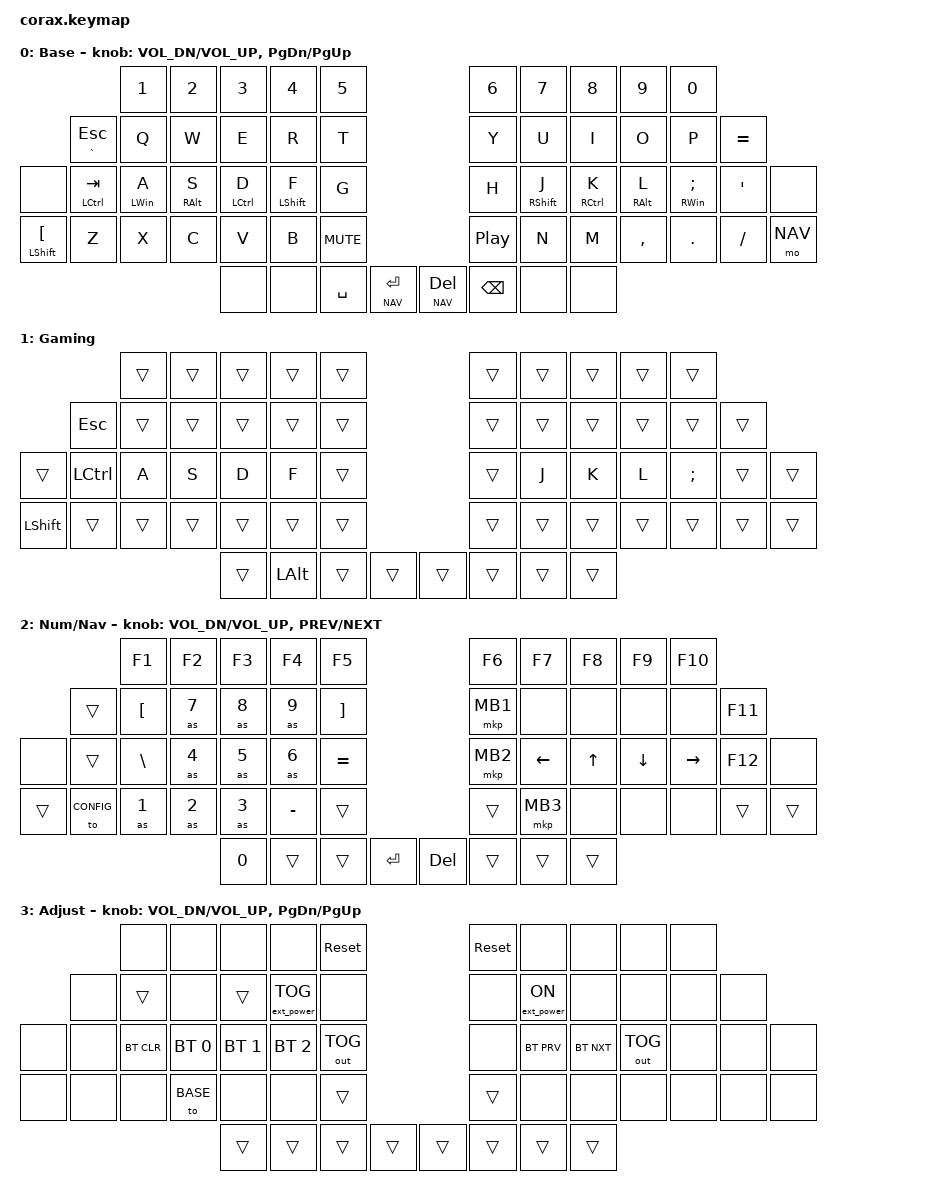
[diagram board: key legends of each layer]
#include <behaviors.dtsi>
#include <dt-bindings/zmk/bt.h>
#include <dt-bindings/zmk/ext_power.h>
#include <dt-bindings/zmk/keys.h>
#include <dt-bindings/zmk/mouse.h>
#include <dt-bindings/zmk/outputs.h>

#define BASE 0
#define GAMING 1
#define NAV 2
#define CONFIG 3

// additional caps word keys

&caps_word { continue-list = <UNDERSCORE MINUS LS(MINUS) UP DOWN LEFT RIGHT BSPC DEL>; };

&mt { tapping-term-ms = <175>; };

/ {
    behaviors {
        hm: homerow_mods {
            compatible = "zmk,behavior-hold-tap";
            label = "HOMEROW_MODS";
            #binding-cells = <2>;
            tapping-term-ms = <175>;
            quick_tap_ms = <0>;
            require-prior-idle-ms = <100>;
            flavor = "tap-preferred";
            bindings = <&kp>, <&kp>;
        };

        as_ht: autoshift_hold_tap {
            compatible = "zmk,behavior-hold-tap";
            label = "AUTOSHIFT_HOLD_TAP";
            #binding-cells = <2>;
            tapping-term-ms = <150>;
            bindings = <&shifted>, <&kp>;
        };
    };

    macros {
        shifted: macro_shifted_kp {
          #binding-cells = <1>;
          label = "MACRO_SHIFTED_KP";
          compatible = "zmk,behavior-macro-one-param";
          bindings =
            <&macro_press &kp LSHFT>,
            <&macro_param_1to1 &macro_tap &kp MACRO_PLACEHOLDER>,
            <&macro_release &kp LSHFT>;
        };
    
        as: autoshift {
          compatible = "zmk,behavior-macro-one-param";
          #binding-cells = <1>;
          label = "AUTOSHIFT_KP";
          bindings =
            <&macro_press>,
            <&macro_param_1to1>,
            <&macro_param_1to2>,
            <&as_ht MACRO_PLACEHOLDER MACRO_PLACEHOLDER>,
            <&macro_pause_for_release>,
            <&macro_release>,
            <&macro_param_1to1>,
            <&macro_param_1to2>,
            <&as_ht MACRO_PLACEHOLDER MACRO_PLACEHOLDER>;
        };
      };

    combos {
        compatible = "zmk,combos";

        gm_capsword {
            bindings = <&caps_word>;

            // caps word on F+J

            key-positions = <27 30>;
            layers = <0>;
        };

        base_to_gaming {
            bindings = <&to GAMING>;
            key-positions = <53 54>;
            layers = <BASE>;
        };

        gaming_to_base {
            bindings = <&to BASE>;
            key-positions = <53 54>;
            layers = <GAMING>;
        };

        gaming_tab {
            bindings = <&kp TAB>;
            key-positions = <23 36>;
            layers = <GAMING>;
        };

        copy_shortcut {
            bindings = <&kp LC(C)>;
            key-positions = <38 39>;
            layers = <BASE GAMING>;
        };

        paste_shortcut {
            bindings = <&kp LC(V)>;
            key-positions = <39 40>;
            layers = <BASE GAMING>;
        };
    };

    keymap {
        compatible = "zmk,keymap";

        base {
            display-name = "Base";
            bindings = <
            //╭─────────────┬─────────────┬─────────────┬─────────────┬─────────────┬─────────────┬─────────────┬─────────────╮ ╭─────────────┬─────────────┬─────────────┬─────────────┬─────────────┬─────────────┬─────────────┬─────────────╮
                                             &kp N1         &kp N2       &kp N3         &kp N4       &kp N5                                      &kp N6        &kp N7        &kp N8        &kp N9        &kp N0
            //├─────────────┼─────────────┼─────────────┼─────────────┼─────────────┼─────────────┼─────────────┼─────────────┤ ├─────────────┼─────────────┼─────────────┼─────────────┼─────────────┼─────────────┼─────────────┼─────────────┤
                             &mt GRAVE ESC   &kp Q          &kp W        &kp E          &kp R        &kp T                                       &kp Y         &kp U         &kp I         &kp O         &kp P         &kp EQUAL
            //├─────────────┼─────────────┼─────────────┼─────────────┼─────────────┼─────────────┼─────────────┼─────────────┤ ├─────────────┼─────────────┼─────────────┼─────────────┼─────────────┼─────────────┼─────────────┼─────────────┤
                   &none     &mt LCTRL TAB   &hm LWIN A     &hm RALT S   &hm LCTRL D    &hm LSHFT F  &kp G                                       &kp H         &hm RSHFT J   &hm RCTRL K   &hm RALT L    &hm RWIN SEMI &kp SQT        &none
            //├─────────────┼─────────────┼─────────────┼─────────────┼─────────────┼─────────────┼─────────────┼─────────────┤ ├─────────────┼─────────────┼─────────────┼─────────────┼─────────────┼─────────────┼─────────────┼─────────────┤
                             &mt LSHFT LBKT  &kp Z          &kp X        &kp C          &kp V        &kp B         &kp C_MUTE      &kp C_PP      &kp N         &kp M         &kp COMMA     &kp DOT       &kp SLASH     &mo NAV
            //╰───────────────────────────────────────────────────────┼─────────────┼─────────────┼─────────────┼─────────────┤ ├─────────────┼─────────────┼─────────────┼─────────────┼───────────────────────────────────────────────────────╯
                                                                         &none          &none        &kp SPACE     &lt NAV RET     &lt NAV DEL   &kp BSPC      &none         &none
            //                                                        ╰─────────────┴─────────────┴─────────────┴─────────────╯ ╰─────────────┴─────────────┴─────────────┴─────────────╯
            >;

            sensor-bindings = <&inc_dec_kp C_VOL_DN C_VOL_UP &inc_dec_kp PG_DN PG_UP>;
        };

        gaming {
            bindings = <
            //╭─────────────┬─────────────┬─────────────┬─────────────┬─────────────┬─────────────┬─────────────┬─────────────╮ ╭─────────────┬─────────────┬─────────────┬─────────────┬─────────────┬─────────────┬─────────────┬─────────────╮
                                            &trans        &trans        &trans        &trans         &trans                                      &trans        &trans        &trans         &trans        &trans
            //├─────────────┼─────────────┼─────────────┼─────────────┼─────────────┼─────────────┼─────────────┼─────────────┤ ├─────────────┼─────────────┼─────────────┼─────────────┼─────────────┼─────────────┼─────────────┼─────────────┤
                              &kp ESCAPE    &trans        &trans        &trans        &trans         &trans                                      &trans        &trans        &trans         &trans        &trans       &trans
            //├─────────────┼─────────────┼─────────────┼─────────────┼─────────────┼─────────────┼─────────────┼─────────────┤ ├─────────────┼─────────────┼─────────────┼─────────────┼─────────────┼─────────────┼─────────────┼─────────────┤
                 &trans       &kp LCTRL     &kp A         &kp S         &kp D         &kp F          &trans                                      &trans        &kp J         &kp K          &kp L         &kp SEMI     &trans        &trans
            //├─────────────┼─────────────┼─────────────┼─────────────┼─────────────┼─────────────┼─────────────┼─────────────┤ ├─────────────┼─────────────┼─────────────┼─────────────┼─────────────┼─────────────┼─────────────┼─────────────┤
                              &kp LSHFT     &trans        &trans        &trans        &trans         &trans        &trans          &trans        &trans        &trans        &trans         &trans        &trans       &trans
            //╰───────────────────────────────────────────────────────┼─────────────┼─────────────┼─────────────┼─────────────┤ ├─────────────┼─────────────┼─────────────┼─────────────┼───────────────────────────────────────────────────────╯
                                                                        &trans        &kp LALT       &trans        &trans          &trans        &trans        &trans        &trans
            //                                                        ╰─────────────┴─────────────┴─────────────┴─────────────╯ ╰─────────────┴─────────────┴─────────────┴─────────────╯
            >;

            label = "Gaming";
        };

        nav {
            display-name = "Num/Nav";
            bindings = <
            //╭─────────────┬─────────────┬─────────────┬─────────────┬─────────────┬─────────────┬─────────────┬─────────────╮ ╭─────────────┬─────────────┬─────────────┬─────────────┬─────────────┬─────────────┬─────────────┬─────────────╮
                                             &kp F1       &kp F2        &kp F3        &kp F4        &kp F5                                       &kp F6        &kp F7        &kp F8       &kp F9         &kp F10
            //├─────────────┼─────────────┼─────────────┼─────────────┼─────────────┼─────────────┼─────────────┼─────────────┤ ├─────────────┼─────────────┼─────────────┼─────────────┼─────────────┼─────────────┼─────────────┼─────────────┤
                               &trans       &kp LBKT      &as N7        &as N8        &as N9        &kp RBKT                                     &mkp MB1      &none          &none       &none          &none         &kp F11
            //├─────────────┼─────────────┼─────────────┼─────────────┼─────────────┼─────────────┼─────────────┼─────────────┤ ├─────────────┼─────────────┼─────────────┼─────────────┼─────────────┼─────────────┼─────────────┼─────────────┤
                 &none         &trans       &kp BSLH      &as N4        &as N5        &as N6        &kp EQUAL                                    &mkp MB2      &kp LEFT       &kp UP      &kp DOWN       &kp RIGHT     &kp F12       &none
            //├─────────────┼─────────────┼─────────────┼─────────────┼─────────────┼─────────────┼─────────────┼─────────────┤ ├─────────────┼─────────────┼─────────────┼─────────────┼─────────────┼─────────────┼─────────────┼─────────────┤
                               &trans       &to CONFIG    &as N1        &as N2        &as N3        &kp MINUS      &trans          &trans        &mkp MB3      &none          &none       &none          &trans        &trans
            //╰───────────────────────────────────────────────────────┼─────────────┼─────────────┼─────────────┼─────────────┤ ├─────────────┼─────────────┼─────────────┼─────────────┼───────────────────────────────────────────────────────╯
                                                                        &kp N0        &trans        &trans         &kp ENTER       &kp DELETE    &trans        &trans         &trans
            //                                                        ╰─────────────┴─────────────┴─────────────┴─────────────╯ ╰─────────────┴─────────────┴─────────────┴─────────────╯
            >;

            sensor-bindings = <&inc_dec_kp C_VOL_DN C_VOL_UP &inc_dec_kp C_PREV C_NEXT>;
        };

        config {
            display-name = "Adjust";
            bindings = <
            //╭─────────────┬─────────────┬─────────────┬─────────────┬─────────────┬─────────────┬─────────────┬─────────────╮ ╭─────────────┬─────────────┬─────────────┬─────────────┬─────────────┬─────────────┬─────────────┬─────────────╮
                                             &none         &none         &none         &none         &sys_reset                                  &sys_reset    &none         &none         &none         &none
            //├─────────────┼─────────────┼─────────────┼─────────────┼─────────────┼─────────────┼─────────────┼─────────────┤ ├─────────────┼─────────────┼─────────────┼─────────────┼─────────────┼─────────────┼─────────────┼─────────────┤
                               &none         &trans        &none         &trans        &ext_power EP_TOG &none                                   &none         &ext_power EP_ON &none      &none         &none         &none
            //├─────────────┼─────────────┼─────────────┼─────────────┼─────────────┼─────────────┼─────────────┼─────────────┤ ├─────────────┼─────────────┼─────────────┼─────────────┼─────────────┼─────────────┼─────────────┼─────────────┤
                 &none         &none         &bt BT_CLR    &bt BT_SEL 0  &bt BT_SEL 1  &bt BT_SEL 2  &out OUT_TOG                                &none         &bt BT_PRV    &bt BT_NXT    &out OUT_TOG  &none         &none         &none
            //├─────────────┼─────────────┼─────────────┼─────────────┼─────────────┼─────────────┼─────────────┼─────────────┤ ├─────────────┼─────────────┼─────────────┼─────────────┼─────────────┼─────────────┼─────────────┼─────────────┤
                               &none         &none         &none         &to BASE      &none         &none         &trans          &trans        &none         &none         &none         &none         &none         &none
            //╰───────────────────────────────────────────────────────┼─────────────┼─────────────┼─────────────┼─────────────┤ ├─────────────┼─────────────┼─────────────┼─────────────┼───────────────────────────────────────────────────────╯
                                                                         &trans        &trans        &trans        &trans          &trans        &trans        &trans        &trans
            //                                                        ╰─────────────┴─────────────┴─────────────┴─────────────╯ ╰─────────────┴─────────────┴─────────────┴─────────────╯
            >;

            sensor-bindings = <&inc_dec_kp C_VOL_DN C_VOL_UP &inc_dec_kp PG_DN PG_UP>;
        };
    };
};
